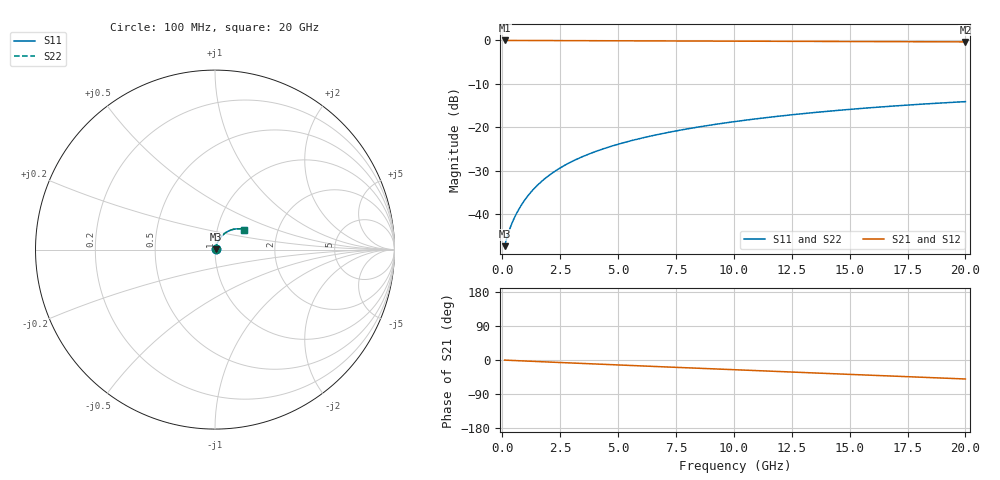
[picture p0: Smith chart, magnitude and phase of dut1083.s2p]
! Touchstone file exported from HFSS 2026.1.0
!  File:  C:/ffzhzh/LocalFiles/Ansys_Project_Files/temp_train_BSMRDL_1083_1783174490_55132.aedt
!  Generated:  10:16:03 PM Jul  4, 2026
!  Design:  BSMRDL
!  Project:  temp_train_BSMRDL_1083_1783174490_55132
! Variables:
!  h_bsmrdl = 5.46um
!  h_ox = 20um
!  h_rdl = 5um
!  h_sub = 80um
!  h_tmrdl = 5um
!  h_tsv = 80um
!  h_via = 3um
!  l_bsmrdl = 890.75um
!  l_sub = 1290.75um
!  l_tmrdl = 200um
!  m_sub = 200um
!  pitch = 24.35um
!  r_tsv = 6um
!  s_tmrdl = 10um
!  w_bsmrdl = 15.41um
!  w_sub = 500um
!  w_tmrdl = 12um
!  x_tsv_center1 = 206um
!  x_tsv_center2 = 1112.16um
!  x_tsv_center3 = 1324.16um
!  x_tsv_center4 = 2230.32um
!  x_tsv_center5 = 2442.32um
!  x_tsv_center6 = 3348.48um
# GHz S MA R 50.000000
! Terminal data exported
! Port[1] = BSM_RDL1_1_T1
! Port[2] = BSM_RDL1_1_T2
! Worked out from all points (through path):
!   200 points, 100 MHz to 20 GHz, reference 50 ohm
!   highest |S21| = -0.03 dB at 100 MHz (marker M1); lowest = -0.4 dB at 20 GHz (marker M2)
!   group delay of S21, straight-line fit = 6.93 ps
!   lowest |S11| = -47.3 dB at 100 MHz (marker M3), VSWR 1.01, Z = 50.4 + j0.178 ohm
!   |S11| at or under -10 dB: start of sweep to end of sweep
!   |S22| runs from -47.3 to -14.1 dB; largest |S21 - S12| = 3.9e-14
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0.1  0.0043 24.3  0.9961 -0.3  0.9961 -0.3  0.0043 24.3
! Gamma 0 0 0 0
! Port Impedance 50 0 50 0
0.2  0.005396 38.0  0.9958 -0.6  0.9958 -0.6  0.005396 38.0
0.3  0.006555 45.9  0.9955 -0.8  0.9955 -0.8  0.006555 45.9
0.4  0.007701 51.3  0.9953 -1.1  0.9953 -1.1  0.007701 51.3
0.6  0.01003 58.6  0.995 -1.6  0.995 -1.6  0.01003 58.6
0.9  0.0137 65.0  0.9947 -2.4  0.9947 -2.4  0.0137 65.0
1.1  0.01623 67.4  0.9945 -3.0  0.9945 -3.0  0.01623 67.4
1.3  0.01878 69.1  0.9942 -3.5  0.9942 -3.5  0.01878 69.1
1.7  0.02393 70.8  0.9937 -4.5  0.9937 -4.5  0.02393 70.8
2.2  0.03033 71.4  0.9929 -5.9  0.9929 -5.9  0.03033 71.4
2.8  0.03787 71.1  0.9918 -7.4  0.9918 -7.4  0.03787 71.1
3.5  0.04642 70.2  0.9904 -9.2  0.9904 -9.2  0.04642 70.2
4.2  0.0547 68.9  0.989 -11.0  0.989 -11.0  0.0547 68.9
5  0.06386 67.3  0.9873 -13.1  0.9873 -13.1  0.06386 67.3
5.9  0.07384 65.5  0.9855 -15.4  0.9855 -15.4  0.07384 65.5
6.8  0.08351 63.6  0.9837 -17.6  0.9837 -17.6  0.08351 63.6
8.3  0.09908 60.4  0.9808 -21.4  0.9808 -21.4  0.09908 60.4
10.1  0.1169 56.5  0.9774 -25.9  0.9774 -25.9  0.1169 56.5
11.7  0.132 53.0  0.9744 -29.8  0.9744 -29.8  0.132 53.0
13.4  0.1472 49.2  0.9712 -34.0  0.9712 -34.0  0.1472 49.2
16.7  0.1741 41.8  0.9652 -42.1  0.9652 -42.1  0.1741 41.8
20  0.1973 34.3  0.9595 -50.1  0.9595 -50.1  0.1973 34.3
